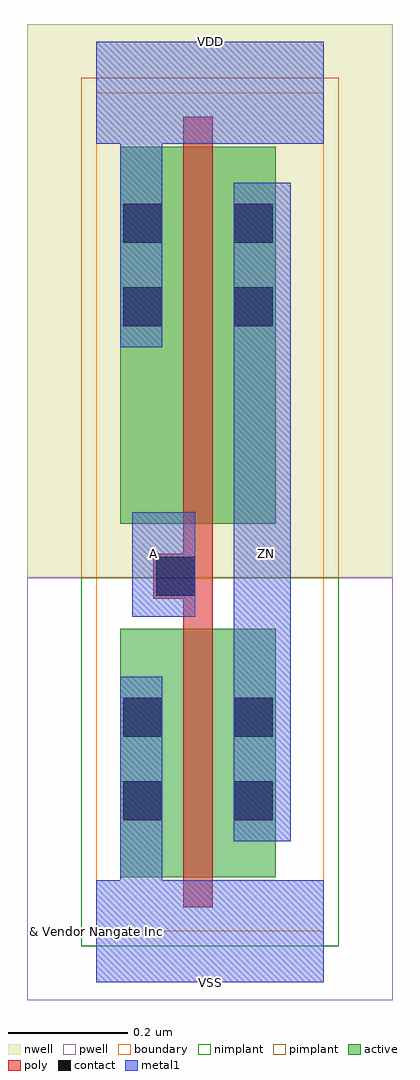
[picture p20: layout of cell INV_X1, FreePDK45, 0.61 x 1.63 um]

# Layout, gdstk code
import gdstk
lib = gdstk.Library(unit=1e-6, precision=1e-10)
def R(c, l, rs):  # rectangles x0, y0, x1, y1
    for r in rs: c.add(gdstk.rectangle(r[:2], r[2:], *l))
def P(c, l, *ps):  # polygons
    for p in ps: c.add(gdstk.Polygon(p, *l))
active = (1, 0)
pwell = (2, 0)
nwell = (3, 0)
nimplant = (4, 0)
pimplant = (5, 0)
poly = (9, 0)
contact = (10, 0)
metal1 = (11, 0)
boundary = (235, 0)

inv_x1 = lib.new_cell('INV_X1')
R(inv_x1, active, [(0.04,0.09,0.3,0.505), (0.04,0.68,0.3,1.31)])
R(inv_x1, pwell, [(-0.115,-0.115,0.495,0.59)])
R(inv_x1, nwell, [(-0.115,0.59,0.495,1.515)])
R(inv_x1, nimplant, [(-0.025,-0.025,0.405,0.59)])
R(inv_x1, pimplant, [(-0.025,0.59,0.405,1.425)])
P(inv_x1, poly, [(0.145,0.04),(0.145,0.555),(0.095,0.555),(0.095,0.63),(0.145,0.63),(0.145,1.36),(0.195,1.36),(0.195,0.04)])
R(inv_x1, contact, [(0.045,0.185,0.11,0.25), (0.23,0.185,0.295,0.25), (0.045,0.325,0.11,0.39), (0.23,0.325,0.295,0.39), (0.1,0.56,0.165,0.625), (0.045,1.01,0.11,1.075), (0.23,1.01,0.295,1.075), (0.045,1.15,0.11,1.215), (0.23,1.15,0.295,1.215)])
R(inv_x1, metal1, [(0.23,0.15,0.325,1.25), (0.06,0.525,0.165,0.7)])
P(inv_x1, metal1, [(0,-0.085),(0,0.085),(0.04,0.085),(0.04,0.425),(0.11,0.425),(0.11,0.085),(0.38,0.085),(0.38,-0.085)],
  [(0.04,0.975),(0.04,1.315),(0,1.315),(0,1.485),(0.38,1.485),(0.38,1.315),(0.11,1.315),(0.11,0.975)])
R(inv_x1, boundary, [(0,0,0.38,1.4)])
inv_x1.add(gdstk.Label('A', (0.095,0.63), layer=11, texttype=0))
inv_x1.add(gdstk.Label('VDD', (0.19,1.485), layer=11, texttype=0))
inv_x1.add(gdstk.Label('VSS', (0.19,-0.085), layer=11, texttype=0))
inv_x1.add(gdstk.Label('ZN', (0.285,0.63), layer=11, texttype=0))
inv_x1.add(gdstk.Label('& Vendor Nangate Inc', (0,0), layer=63, texttype=63))
inv_x1.add(gdstk.Label('& Product Open Cell Library', (0,0), layer=63, texttype=63))
inv_x1.add(gdstk.Label('& Version 2010_12', (0,0), layer=63, texttype=63))
inv_x1.add(gdstk.Label('& Instance INV_X1', (0,0), layer=63, texttype=63))

lib.write_gds('INV_X1.gds')
